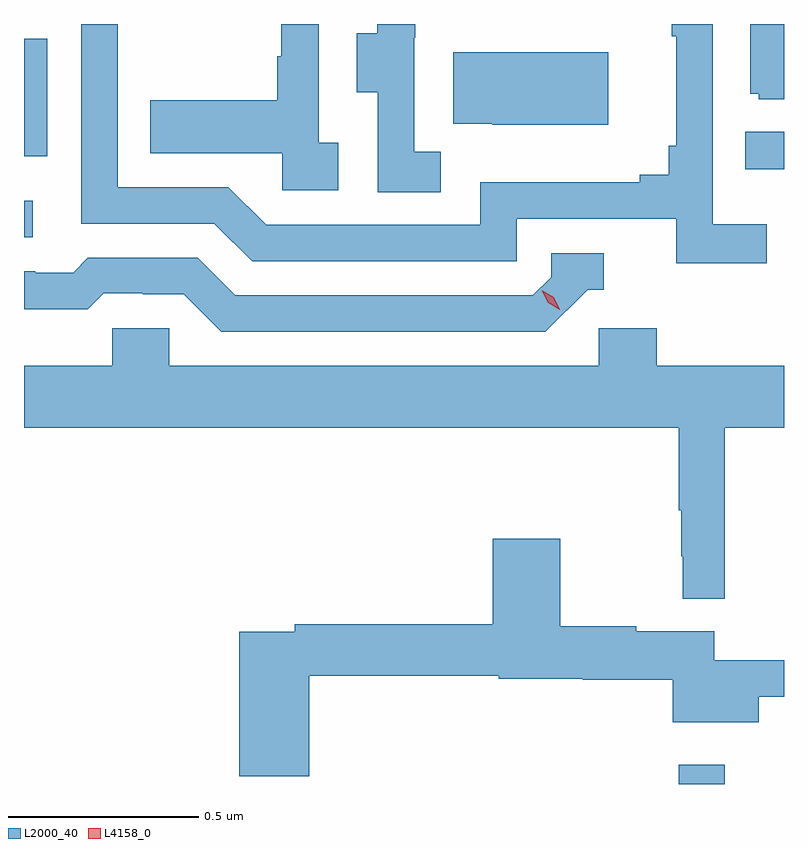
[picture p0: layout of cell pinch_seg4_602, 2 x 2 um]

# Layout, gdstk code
import gdstk
lib = gdstk.Library(unit=1e-6, precision=1e-09)
def R(c, l, rs):  # rectangles x0, y0, x1, y1
    for r in rs: c.add(gdstk.rectangle(r[:2], r[2:], *l))
def P(c, l, *ps):  # polygons
    for p in ps: c.add(gdstk.Polygon(p, *l))
L2000_40 = (2000, 40)
L4158_0 = (4158, 0)

pinch_seg4_602 = lib.new_cell('pinch_seg4_602')
R(pinch_seg4_602, L2000_40, [(1050.714,785.227,1050.835,785.278), (1048.991,786.666,1049.014,786.762), (1050.889,786.845,1050.991,786.944), (1048.991,786.879,1049.052,787.188)])
P(pinch_seg4_602, L2000_40, [(1050.991,787.227),(1050.902,787.227),(1050.902,787.044),(1050.924,787.044),(1050.924,787.029),(1050.991,787.029)],
  [(1050.088,786.891),(1050.018,786.891),(1050.018,787.191),(1050.02,787.191),(1050.02,787.227),(1049.921,787.227),(1049.921,787.203),(1049.867,787.203),(1049.867,787.048),(1049.922,787.048),(1049.922,786.784),(1050.088,786.784)],
  [(1049.818,786.914),(1049.766,786.914),(1049.766,787.227),(1049.668,787.227),(1049.668,787.142),(1049.658,787.142),(1049.658,787.027),(1049.323,787.027),(1049.323,786.887),(1049.67,786.887),(1049.67,786.789),(1049.818,786.789)],
  [(1050.946,786.7),(1050.804,786.7),(1050.804,787.227),(1050.696,787.227),(1050.696,787.195),(1050.707,787.195),(1050.707,786.907),(1050.688,786.907),(1050.688,786.83),(1050.611,786.83),(1050.611,786.811),(1050.192,786.811),(1050.192,786.699),(1049.628,786.699),(1049.529,786.798),(1049.238,786.798),(1049.238,787.227),(1049.142,787.227),(1049.142,786.702),(1049.492,786.702),(1049.591,786.603),(1050.288,786.603),(1050.288,786.714),(1050.707,786.714),(1050.707,786.598),(1050.946,786.598)],
  [(1050.529,787.153),(1050.121,787.153),(1050.121,786.965),(1050.223,786.965),(1050.223,786.962),(1050.529,786.962)],
  [(1050.474,786.528),(1050.517,786.528),(1050.517,786.624),(1050.378,786.624),(1050.378,786.561),(1050.33,786.513),(1049.547,786.513),(1049.448,786.612),(1049.159,786.612),(1049.12,786.573),(1049.021,786.573),(1049.021,786.576),(1048.991,786.576),(1048.991,786.477),(1049.159,786.477),(1049.201,786.519),(1049.304,786.519),(1049.304,786.516),(1049.411,786.516),(1049.51,786.417),(1050.363,786.417)],
  [(1050.835,786.164),(1050.991,786.164),(1050.991,786.328),(1050.656,786.328),(1050.656,786.426),(1050.504,786.426),(1050.504,786.328),(1049.373,786.328),(1049.373,786.426),(1049.223,786.426),(1049.223,786.328),(1048.991,786.328),(1048.991,786.164),(1050.714,786.164),(1050.714,785.948),(1050.721,785.948),(1050.721,785.827),(1050.725,785.827),(1050.725,785.715),(1050.835,785.715)],
  [(1049.741,785.512),(1050.24,785.512),(1050.24,785.504),(1050.462,785.504),(1050.462,785.501),(1050.698,785.501),(1050.698,785.39),(1050.925,785.39),(1050.925,785.457),(1050.991,785.457),(1050.991,785.553),(1050.808,785.553),(1050.808,785.629),(1050.602,785.629),(1050.602,785.642),(1050.402,785.642),(1050.402,785.872),(1050.224,785.872),(1050.224,785.648),(1049.704,785.648),(1049.704,785.628),(1049.558,785.628),(1049.558,785.247),(1049.741,785.247)])
P(pinch_seg4_602, L4158_0, [(1050.401,786.475),(1050.37,786.494),(1050.354,786.527),(1050.354,786.527),(1050.354,786.527),(1050.385,786.508),(1050.401,786.475),(1050.401,786.475)])

lib.write_gds('pinch_seg4_602.gds')
